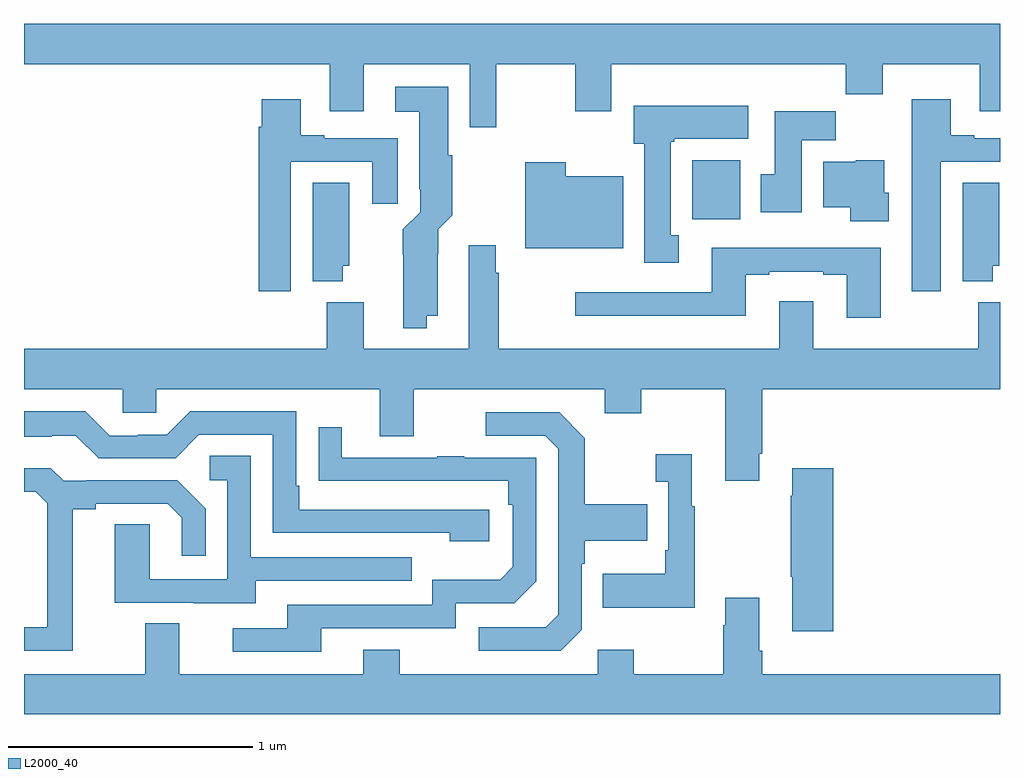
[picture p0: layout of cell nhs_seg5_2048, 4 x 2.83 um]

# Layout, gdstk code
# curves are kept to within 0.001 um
import gdstk
lib = gdstk.Library(unit=1e-6, precision=1e-09)
def R(c, l, rs):  # rectangles x0, y0, x1, y1
    for r in rs: c.add(gdstk.rectangle(r[:2], r[2:], *l))
def P(c, l, *ps):  # polygons
    for p in ps: c.add(gdstk.Polygon(p, *l))
L2000_40 = (2000, 40)

nhs_seg5_2048 = lib.new_cell('nhs_seg5_2048')
R(nhs_seg5_2048, L2000_40, [(233.738,869.444,233.935,869.686)])
P(nhs_seg5_2048, L2000_40, [(232.936,870.08),(233.26,870.08),(233.26,869.886),(233.407,869.886),(233.407,870.08),(234.367,870.08),(234.367,869.956),(234.519,869.956),(234.519,870.08),(234.917,870.08),(234.917,869.886),(235,869.886),(235,870.244),(231,870.244),(231,870.08),(232.253,870.08),(232.253,869.886),(232.393,869.886),(232.393,870.08),(232.827,870.08),(232.827,869.82),(232.936,869.82)],
  [(232.651,869.048),(232.696,869.048),(232.697,869.402),(232.756,869.461),(232.756,869.706),(232.738,869.706),(232.738,869.986),(232.521,869.986),(232.521,869.885),(232.619,869.885),(232.619,869.566),(232.623,869.566),(232.623,869.472),(232.553,869.402),(232.554,868.997),(232.651,868.997)],
  [(232.093,869.679),(232.427,869.679),(232.427,869.508),(232.531,869.508),(232.531,869.775),(232.231,869.775),(232.231,869.788),(232.135,869.788),(232.135,869.935),(231.974,869.935),(231.974,869.822),(231.962,869.822),(231.962,869.148),(232.093,869.148)],
  [(234.757,869.679),(235,869.679),(235,869.775),(234.895,869.775),(234.895,869.788),(234.799,869.788),(234.799,869.935),(234.638,869.935),(234.638,869.148),(234.757,869.148)],
  [(233.683,869.378),(233.65,869.378),(233.65,869.761),(233.664,869.761),(233.664,869.774),(233.968,869.774),(233.968,869.908),(233.498,869.908),(233.498,869.754),(233.543,869.754),(233.543,869.265),(233.683,869.265)],
  [(234.187,869.768),(234.326,869.768),(234.326,869.887),(234.077,869.887),(234.077,869.628),(234.02,869.628),(234.02,869.472),(234.187,869.472)],
  [(234.544,869.553),(234.526,869.553),(234.526,869.686),(234.408,869.686),(234.408,869.68),(234.275,869.68),(234.275,869.492),(234.386,869.492),(234.386,869.435),(234.544,869.435)],
  [(233.455,869.62),(233.22,869.62),(233.22,869.677),(233.054,869.677),(233.054,869.324),(233.455,869.324)],
  [(232.306,869.253),(232.333,869.253),(232.333,869.594),(232.184,869.594),(232.184,869.189),(232.306,869.189)],
  [(234.97,869.253),(234.997,869.253),(234.997,869.594),(234.848,869.594),(234.848,869.189),(234.97,869.189)],
  [(234.013,868.483),(234.026,868.483),(234.026,868.748),(235,868.748),(235,869.104),(234.91,869.104),(234.91,868.912),(234.235,868.912),(234.235,869.107),(234.095,869.107),(234.095,868.912),(232.946,868.912),(232.946,869.225),(232.933,869.225),(232.933,869.338),(232.823,869.338),(232.823,868.912),(232.393,868.912),(232.393,869.104),(232.241,869.104),(232.241,868.912),(231,868.912),(231,868.748),(231.405,868.748),(231.405,868.65),(231.543,868.65),(231.543,868.748),(232.457,868.748),(232.457,868.554),(232.597,868.554),(232.597,868.748),(233.381,868.748),(233.381,868.649),(233.529,868.649),(233.529,868.748),(233.873,868.748),(233.873,868.371),(234.013,868.371)],
  [(234.511,869.326),(233.819,869.326),(233.819,869.145),(233.259,869.145),(233.259,869.048),(233.959,869.048),(233.959,869.217),(234.055,869.217),(234.055,869.229),(234.275,869.229),(234.275,869.217),(234.371,869.217),(234.371,869.04),(234.511,869.04)],
  [(232.906,868.254),(232.129,868.254),(232.129,868.351),(232.116,868.351),(232.116,868.656),(231.681,868.656),(231.585,868.56),(231.467,868.56),(231.467,868.557),(231.351,868.557),(231.251,868.657),(231,868.657),(231,868.553),(231.113,868.553),(231.113,868.557),(231.213,868.557),(231.306,868.464),(231.621,868.464),(231.717,868.56),(232.02,868.56),(232.02,868.158),(232.745,868.158),(232.745,868.124),(232.906,868.124)],
  [(233.286,867.762),(233.286,868.031),(233.299,868.031),(233.299,868.127),(233.555,868.127),(233.555,868.275),(233.299,868.275),(233.299,868.547),(233.193,868.653),(232.893,868.653),(232.893,868.557),(233.136,868.557),(233.19,868.503),(233.19,867.822),(233.139,867.771),(232.863,867.771),(232.863,867.675),(233.199,867.675)],
  [(232.219,867.768),(232.77,867.768),(232.77,867.87),(233.01,867.87),(233.1,867.96),(233.1,868.467),(232.805,868.467),(232.805,868.472),(232.693,868.472),(232.693,868.467),(232.303,868.467),(232.303,868.591),(232.207,868.591),(232.207,868.372),(232.984,868.371),(232.984,868.274),(233.004,868.274),(233.004,868.02),(232.951,867.967),(232.674,867.967),(232.674,867.864),(232.079,867.864),(232.079,867.768),(231.855,867.768),(231.855,867.672),(232.219,867.672)],
  [(233.749,868.267),(233.737,868.267),(233.737,868.48),(233.589,868.48),(233.589,868.367),(233.64,868.367),(233.64,868.087),(233.628,868.087),(233.628,867.991),(233.371,867.991),(233.371,867.851),(233.749,867.851)],
  [(231.949,867.963),(232.589,867.963),(232.589,868.059),(231.93,868.059),(231.93,868.475),(231.762,868.475),(231.762,868.374),(231.834,868.374),(231.834,867.969),(231.516,867.969),(231.516,868.193),(231.371,868.193),(231.371,867.873),(231.695,867.873),(231.695,867.869),(231.949,867.869)],
  [(231.199,868.256),(231.295,868.256),(231.295,868.278),(231.59,868.278),(231.647,868.221),(231.647,868.065),(231.744,868.065),(231.744,868.258),(231.628,868.374),(231.256,868.374),(231.256,868.371),(231.162,868.371),(231.11,868.423),(231,868.423),(231,868.326),(231.048,868.326),(231.095,868.279),(231.095,867.771),(231,867.771),(231,867.675),(231.199,867.675)],
  [(234.317,868.423),(234.149,868.423),(234.149,868.31),(234.142,868.31),(234.142,867.979),(234.149,867.979),(234.149,867.756),(234.317,867.756)],
  [(235,867.58),(234.026,867.58),(234.026,867.676),(234.013,867.676),(234.013,867.892),(233.873,867.892),(233.873,867.779),(233.866,867.779),(233.866,867.58),(233.499,867.58),(233.499,867.679),(233.352,867.679),(233.352,867.58),(232.539,867.58),(232.539,867.679),(232.391,867.679),(232.391,867.58),(231.637,867.58),(231.637,867.788),(231.497,867.788),(231.497,867.58),(231,867.58),(231,867.416),(235,867.416)])

lib.write_gds('nhs_seg5_2048.gds')
